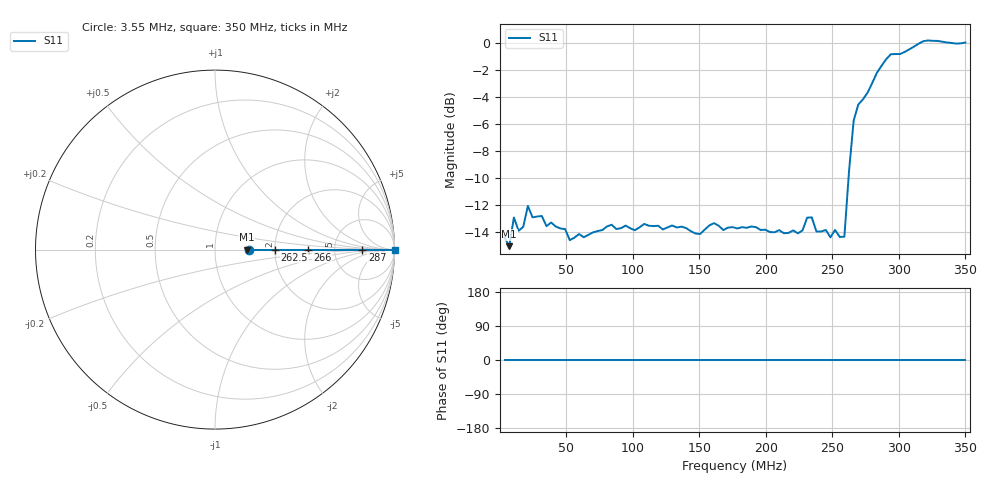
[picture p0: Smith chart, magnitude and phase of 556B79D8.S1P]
!File created by NanoVNA
# Hz S RI R 50
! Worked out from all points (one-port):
!   100 points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, 3.55 MHz to 350 MHz, reference 50 ohm
!   lowest |S11| = -15.0 dB at 7.049 MHz (marker M1), VSWR 1.43, Z = 71.5 + j0 ohm
!   |S11| at or under -10 dB: start of sweep to 262.1 MHz
!   S11 on the Smith chart (normalised r, x): 3.55 MHz: 1.47, +0.00; 262.5 MHz: 2.01, +0.00; 266 MHz: 3.13, +0.00; 287 MHz: 10, +0; 350 MHz: open
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3549500  0.1904 0
7049000  0.1769 0
1.05485e7  0.2258 0
1.4048e7  0.2017 0
1.75475e7  0.2086 0
2.1047e7  0.2491 0
3.5045e7  0.2097 0
4.9043e7  0.2046 0
5.25425e7  0.1862 0
9.1037e7  0.2062 0
1.365305e8  0.2089 0
1.505285e8  0.1962 0
1.61027e8  0.2151 0
1.785245e8  0.2057 0
2.205185e8  0.2024 0
2.275175e8  0.2022 0
2.345165e8  0.226 0
2.38016e8  0.2003 0
2.59013e8  0.1918 0
2.625125e8  0.335 0
2.66012e8  0.5158 0
2.695115e8  0.5911 0
2.765105e8  0.654 0
2.87009e8  0.8215 0
2.94008e8  0.9064 0
3.08006e8  0.9456 0
3.22004e8  1.019 0
3.5e8  1.001 0
